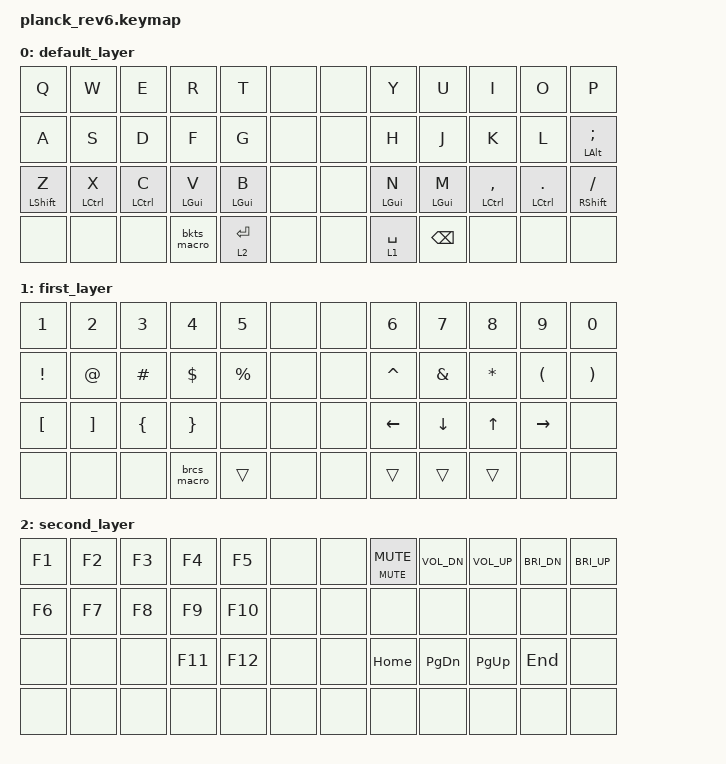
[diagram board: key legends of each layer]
#include <behaviors.dtsi>
#include <dt-bindings/zmk/keys.h>

&mt {
    quick-tap-ms = <200>;
    flavor = "balanced";
};
&lt {
    quick-tap-ms = <200>;
    tapping-term-ms = <250>;
};

/ {
    ht: hold_tap {
        compatible = "zmk,behavior-hold-tap";
        label = "HOLD_TAP";
        #binding-cells = <2>;
        flavor = "hold-preferred";
        tapping-term-ms = <200>;
        quick-tap-ms = <200>;
        bindings = <&kp>, <&kp>;
    };
};

/ { 
    combos {
        compatible = "zmk,combos";
        combo_grave {
            timeout-ms = <50>;
            key-positions = <0 1>;
            bindings = <&kp GRAVE>;
        };
        combo_esc {
            timeout-ms = <50>;
            key-positions = <1 2>;
            bindings = <&kp ESC>;
        };
         combo_tab {
            timeout-ms = <50>;
            key-positions = <13 14>;
            bindings = <&kp TAB>;
        };
         combo_minus {
            timeout-ms = <50>;
            key-positions = <14 15>;
            bindings = <&kp MINUS>;
        };
         combo_under {
            timeout-ms = <50>;
            key-positions = <15 16>;
            bindings = <&kp UNDER>;
        };
         combo_plus {
            timeout-ms = <50>;
            key-positions = <26 27>;
            bindings = <&kp PLUS>;
        };
         combo_equal {
            timeout-ms = <50>;
            key-positions = <27 28>;
            bindings = <&kp EQUAL>;
        };
         combo_dqt {
            timeout-ms = <50>;
            key-positions = <19 20>;
            bindings = <&kp DQT>;
        };
         combo_sqt {
            timeout-ms = <50>;
            key-positions = <20 21>;
            bindings = <&kp SQT>;
        };
         combo_bslh {
            timeout-ms = <50>;
            key-positions = <34 35>;
            bindings = <&kp BSLH>;
        };
         combo_del {
            timeout-ms = <50>;
            key-positions = <32 44>;
            bindings = <&kp DEL>;
        };
    };

    macros {
        ZMK_MACRO(bkts_macro,
            wait-ms = <30>;
            tap-ms = <40>;
            bindings = <&kp LBKT &kp RBKT &kp LEFT>;
        )
        ZMK_MACRO(brcs_macro,
            wait-ms = <30>;
            tap-ms = <40>;
            bindings = <&kp LBRC &kp RBRC &kp LEFT>;
        )
    };

        keymap {
                compatible = "zmk,keymap";
                
        default_layer {
            bindings = <
    &kp Q        &kp W       &kp E       &kp R       &kp T          &none &none &kp Y       &kp U      &kp I           &kp O         &kp P
    &kp A        &kp S       &kp D       &kp F       &kp G          &none &none &kp H       &kp J      &kp K           &kp L         &mt LALT SEMI
    &ht LSHIFT Z &mt LCTRL X &mt LCTRL C &mt LGUI V  &mt LGUI B     &none &none &mt LGUI N  &mt LGUI M &mt LCTRL COMMA &mt LCTRL DOT &ht RSHIFT SLASH
    &none        &none       &none       &bkts_macro &lt 2 ENTER    &none &none &lt 1 SPACE &kp BSPC   &none           &none         &none
            >;
        };

        first_layer {
            bindings = <
    &kp N1   &kp N2   &kp N3   &kp N4      &kp N5    &none &none &kp N6    &kp N7   &kp N8    &kp N9    &kp N0
    &kp EXCL &kp AT   &kp HASH &kp DLLR    &kp PRCNT &none &none &kp CARET &kp AMPS &kp ASTRK &kp LPAR  &kp RPAR
    &kp LBKT &kp RBKT &kp LBRC &kp RBRC    &none     &none &none &kp LEFT  &kp DOWN &kp UP    &kp RIGHT &none
    &none    &none    &none    &brcs_macro &trans    &none &none &trans    &trans   &trans    &none     &none
            >;
        };

        second_layer {
            bindings = <
    &kp F1 &kp F2 &kp F3 &kp F4  &kp F5  &none &none &mt C_MUTE K_MUTE &kp C_VOL_DN &kp C_VOL_UP &kp C_BRI_DN &kp C_BRI_UP
    &kp F6 &kp F7 &kp F8 &kp F9  &kp F10 &none &none &none             &none        &none        &none        &none
    &none  &none  &none  &kp F11 &kp F12 &none &none &kp HOME          &kp PG_DN    &kp PG_UP    &kp END      &none
    &none  &none  &none  &none   &none   &none &none &none             &none        &none        &none        &none 
            >;
        };

    };
};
